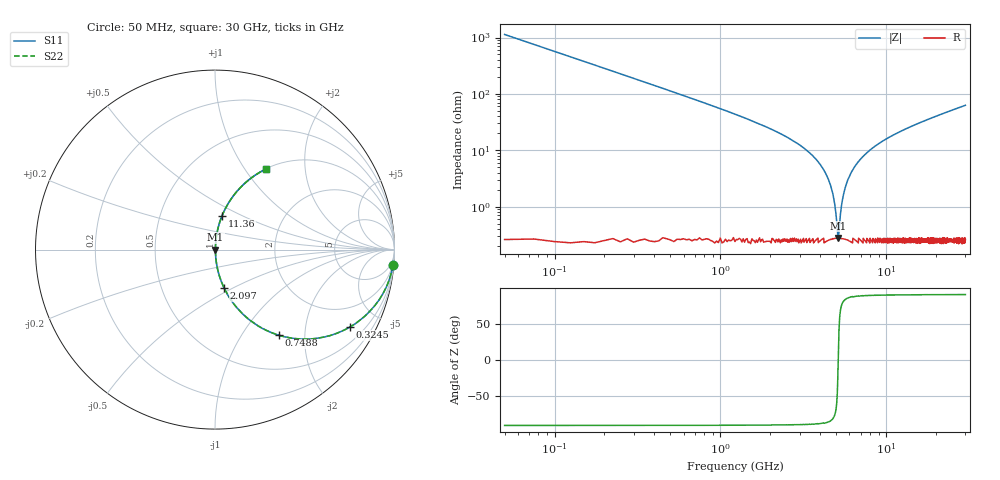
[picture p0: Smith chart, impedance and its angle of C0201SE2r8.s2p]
!	AVX Thin Film Operation 	Date: April 2014
!	Description: Accu-P® Series, Thin Film  SMD RF Capacitor
!	Part Number: 02013J2R8QBSTR
# MHZ S MA R 50
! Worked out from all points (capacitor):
!   1201 points, 50 MHz to 30 GHz, reference 50 ohm
!   read as one part in series: C = 2.8 pF near 199.8 MHz
!   lowest |Z| = 279 mohm at 5.141 GHz (marker M1)
!   series resonance near 5.133 GHz, so ESL is about 340 pH
!   S11 on the Smith chart (normalised r, x): 50 MHz: 1, -23; 324.5 MHz: 1.01, -3.49; 748.8 MHz: 1.01, -1.48; 2.097 GHz: 1.00, -0.45; 11.36 GHz: 1.01, +0.39; 30 GHz: 1.01, +1.26
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50  0.996 -5.0  0.088 85.0  0.088 85.0  0.996 -5.0
324.542  0.867 -29.8  0.497 60.1  0.497 60.1  0.867 -29.8
499.25  0.747 -41.5  0.663 48.4  0.663 48.4  0.747 -41.5
748.833  0.595 -53.3  0.801 36.5  0.801 36.5  0.595 -53.3
1272.958  0.386 -67.0  0.92 22.7  0.92 22.7  0.386 -67.0
2096.583  0.22 -76.7  0.973 12.7  0.973 12.7  0.22 -76.7
3494.25  0.087 -83.4  0.994 5.0  0.994 5.0  0.087 -83.4
4267.958  0.041 -84.1  0.997 2.3  0.997 2.3  0.041 -84.1
4742.167  0.018 -80.8  0.997 1.0  0.997 1.0  0.018 -80.8
5041.667  0.004679 -57.3  0.997 0.2  0.997 0.2  0.004679 -57.3
5141.5  0.002543 8.7  0.997 -0.0  0.997 -0.0  0.002543 8.7
5216.375  0.004375 54.7  0.997 -0.2  0.997 -0.2  0.004375 54.7
5416.042  0.012 77.4  0.997 -0.7  0.997 -0.7  0.012 77.4
5615.708  0.02 81.7  0.997 -1.1  0.997 -1.1  0.02 81.7
6314.542  0.046 84.2  0.996 -2.6  0.996 -2.6  0.046 84.2
7762.125  0.094 83.1  0.993 -5.4  0.993 -5.4  0.094 83.1
10058.29  0.158 80.0  0.985 -9.1  0.985 -9.1  0.158 80.0
11356.12  0.191 78.3  0.979 -11.0  0.979 -11.0  0.191 78.3
15025  0.275 73.6  0.959 -15.9  0.959 -15.9  0.275 73.6
20016.67  0.373 67.7  0.925 -21.9  0.925 -21.9  0.373 67.7
25033.29  0.459 62.4  0.886 -27.3  0.886 -27.3  0.459 62.4
30000  0.531 57.7  0.845 -32.1  0.845 -32.1  0.531 57.7
